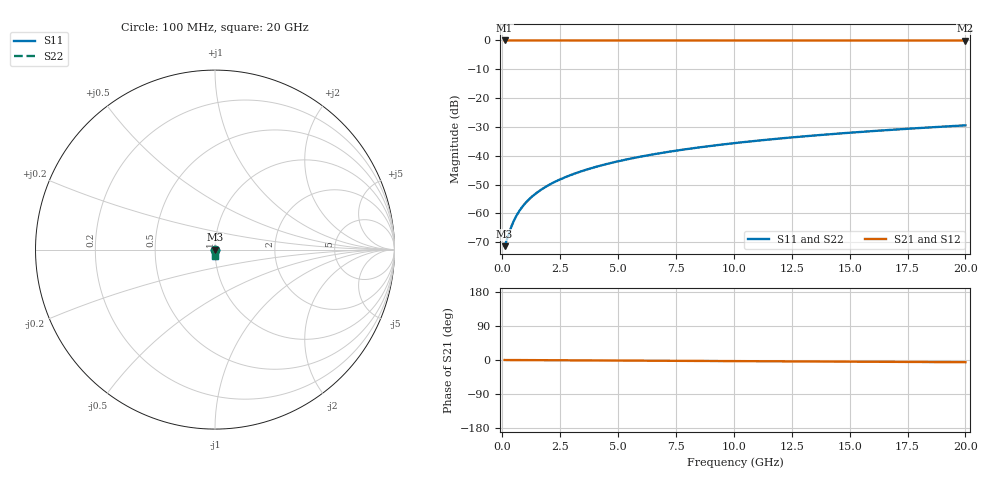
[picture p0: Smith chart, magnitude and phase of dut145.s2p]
! Touchstone file exported from HFSS 2026.1.0
!  File:  C:/ffzhzh/LocalFiles/Ansys_Project_Files/temp_train_TSV_145_1782990468_40604.aedt
!  Generated:  07:09:29 PM Jul  2, 2026
!  Design:  TSV
!  Project:  temp_train_TSV_145_1782990468_40604
! Variables:
!  h_bsmrdl = 2um
!  h_ox = 20um
!  h_rdl = 5um
!  h_sub = 58.38um
!  h_tmrdl = 5um
!  h_tsv = 58.38um
!  h_via = 3um
!  l_bsmrdl = 300um
!  l_sub = 411.58um
!  l_tmrdl = 200um
!  m_sub = 200um
!  pitch = 17.22um
!  r_tsv = 5.79um
!  s_tmrdl = 10um
!  w_bsmrdl = 18um
!  w_sub = 500um
!  w_tmrdl = 12um
!  x_tsv_center1 = 206um
!  x_tsv_center2 = 524um
!  x_tsv_center3 = 736um
!  x_tsv_center4 = 1054um
!  x_tsv_center5 = 1266um
!  x_tsv_center6 = 1584um
# GHz S MA R 50.000000
! Terminal data exported
! Port[1] = TSV1_1_T1
! Port[2] = TSV1_1_T2
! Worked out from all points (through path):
!   200 points, 100 MHz to 20 GHz, reference 50 ohm
!   highest |S21| = 0.00 dB at 100 MHz (marker M1); lowest = 0.0 dB at 20 GHz (marker M2)
!   lowest |S11| = -71.4 dB at 100 MHz (marker M3), VSWR 1.00, Z = 50 - j0.0112 ohm
!   |S11| at or under -10 dB: start of sweep to end of sweep
!   |S22| runs from -71.4 to -29.5 dB; largest |S21 - S12| = 6.9e-15
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0.1  0.0002701 -24.5  0.9998 -0.0  0.9998 -0.0  0.0002701 -24.5
! Gamma 0 0 0 0
! Port Impedance 50 0 50 0
0.3  0.0004701 -51.0  0.9997 -0.1  0.9997 -0.1  0.0004701 -51.0
0.4  0.0006032 -57.5  0.9997 -0.1  0.9997 -0.1  0.0006032 -57.5
0.5  0.0007465 -62.1  0.9996 -0.2  0.9996 -0.2  0.0007465 -62.1
0.6  0.0008954 -65.5  0.9996 -0.2  0.9996 -0.2  0.0008954 -65.5
0.7  0.001048 -68.2  0.9996 -0.2  0.9996 -0.2  0.001048 -68.2
0.9  0.001357 -72.1  0.9996 -0.3  0.9996 -0.3  0.001357 -72.1
1.2  0.001826 -75.8  0.9995 -0.4  0.9995 -0.4  0.001826 -75.8
1.4  0.002141 -77.5  0.9995 -0.4  0.9995 -0.4  0.002141 -77.5
1.6  0.002456 -78.7  0.9995 -0.5  0.9995 -0.5  0.002456 -78.7
2.1  0.00325 -80.9  0.9994 -0.6  0.9994 -0.6  0.00325 -80.9
2.7  0.004214 -82.4  0.9994 -0.8  0.9994 -0.8  0.004214 -82.4
3.5  0.005519 -83.7  0.9993 -1.0  0.9993 -1.0  0.005519 -83.7
4.2  0.006676 -84.5  0.9992 -1.2  0.9992 -1.2  0.006676 -84.5
5  0.008013 -85.3  0.9991 -1.5  0.9991 -1.5  0.008013 -85.3
5.9  0.00953 -86.0  0.999 -1.7  0.999 -1.7  0.00953 -86.0
6.8  0.01106 -86.7  0.9989 -2.0  0.9989 -2.0  0.01106 -86.7
8.3  0.01361 -87.6  0.9988 -2.4  0.9988 -2.4  0.01361 -87.6
10.1  0.01669 -88.6  0.9986 -3.0  0.9986 -3.0  0.01669 -88.6
13.4  0.02234 -90.2  0.9983 -3.9  0.9983 -3.9  0.02234 -90.2
16.7  0.028 -91.6  0.998 -4.9  0.998 -4.9  0.028 -91.6
20  0.03368 -92.8  0.9976 -5.8  0.9976 -5.8  0.03368 -92.8
